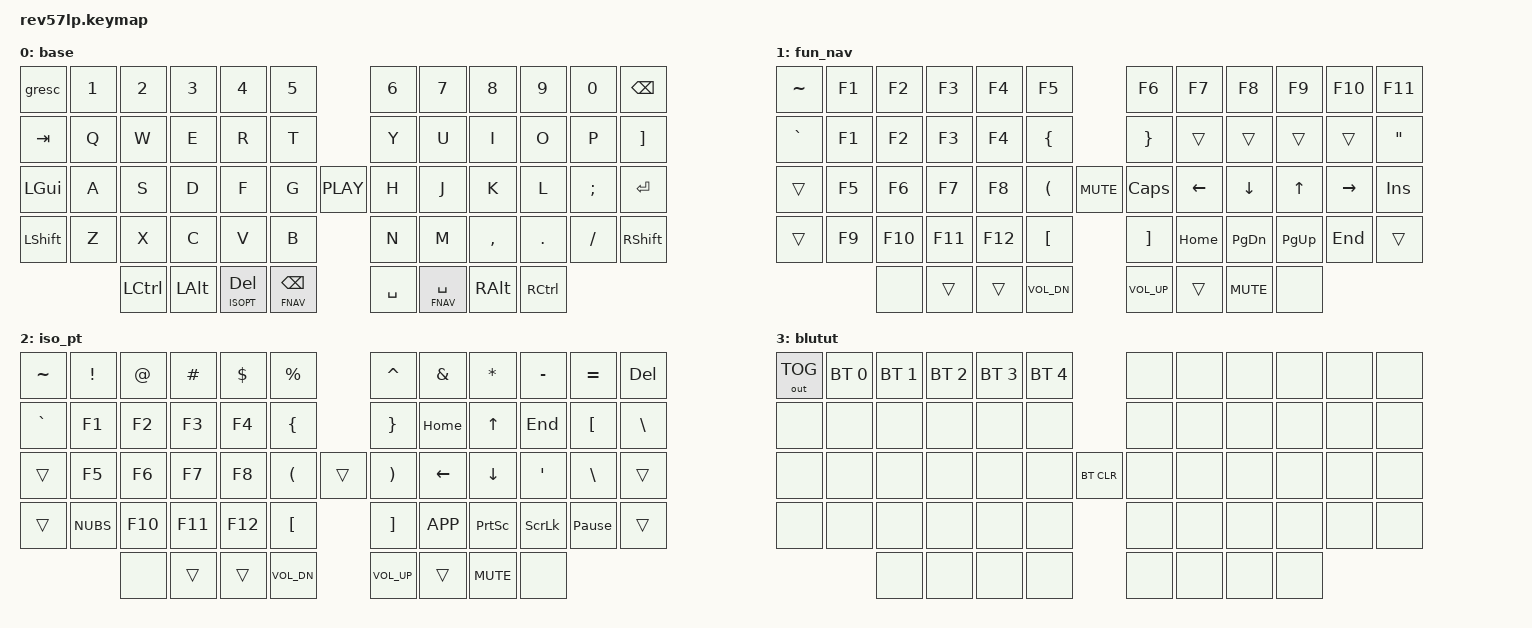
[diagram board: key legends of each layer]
/*
 * Copyright (c) 2022 The ZMK Contributors
 *
 * SPDX-License-Identifier: MIT
 */

#include <behaviors.dtsi>
#include <dt-bindings/zmk/keys.h>
#include <dt-bindings/zmk/bt.h>
#include <dt-bindings/zmk/outputs.h>

#define BASE    0
#define FNAV    1
#define ISOPT   2
#define BT      3

/ {
    combos {
        compatible = "zmk,combos";
        
        combo_BOOT {
            timeout-ms = <50>;
            key-positions = <4 5 6 7>;
            bindings = <&bootloader>;
        };

        combo_BT {
            timeout-ms = <50>;
            key-positions = <49 56>;
            bindings = <&mo BT>;
        };
    };

    keymap {
        compatible = "zmk,keymap";

        base {
            bindings = <
                &gresc       &kp N1     &kp N2    &kp N3    &kp N4     &kp N5                           &kp N6     &kp N7     &kp N8     &kp N9    &kp N0     &kp BSPC
                &kp TAB      &kp Q      &kp W     &kp E     &kp R      &kp T                            &kp Y      &kp U      &kp I      &kp O     &kp P      &kp RBKT
                &kp LGUI     &kp A      &kp S     &kp D     &kp F      &kp G          &kp C_PLAY        &kp H      &kp J      &kp K      &kp L     &kp SEMI   &kp RET
                &kp LSHIFT   &kp Z      &kp X     &kp C     &kp V      &kp B                            &kp N      &kp M      &kp COMMA  &kp DOT   &kp SLASH  &kp RSHIFT
                                           &kp LCTL  &kp LALT   &lt ISOPT DEL  &lt FNAV BSPC  &kp SPACE   &lt FNAV SPACE  &kp RALT   &kp RCTL
                >;
        };

        fun_nav {
            bindings = <
                &kp TILDE  &kp F1    &kp F2   &kp F3    &kp F4    &kp F5                                &kp F6     &kp F7    &kp F8     &kp F9      &kp F10         &kp F11
                &kp GRAVE  &kp F1    &kp F2   &kp F3    &kp F4    &kp LBRC                              &kp RBRC   &trans    &trans     &trans      &trans          &kp DQT
                &trans     &kp F5    &kp F6   &kp F7    &kp F8    &kp LPAR          &kp C_MUTE          &kp CAPS   &kp LEFT  &kp DOWN   &kp UP      &kp RIGHT       &kp INS
                &trans     &kp F9    &kp F10  &kp F11   &kp F12   &kp LBKT                              &kp RBKT   &kp HOME  &kp PG_DN  &kp PG_UP   &kp END &trans
                                              &none     &trans    &trans    &kp C_VOL_DN  &kp C_VOL_UP  &trans     &kp C_MUTE &none
                >;
        };

        iso_pt {
            bindings = <
                &kp TILDE  &kp EXCL  &kp AT   &kp HASH  &kp DLLR  &kp PRCNT                             &kp CARET  &kp AMPS   &kp ASTRK  &kp MINUS  &kp EQUAL       &kp DEL
                &kp GRAVE  &kp F1    &kp F2   &kp F3    &kp F4    &kp LBRC                              &kp RBRC   &kp HOME   &kp UP     &kp END    &kp LBKT        &kp BSLH
                &trans     &kp F5    &kp F6   &kp F7    &kp F8    &kp LPAR          &trans              &kp RPAR   &kp LEFT   &kp DOWN   &kp SQT    &kp BSLH        &trans
                &trans     &kp NUBS  &kp F10  &kp F11   &kp F12   &kp LBKT                              &kp RBKT   &kp K_APP  &kp PSCRN  &kp SLCK   &kp PAUSE_BREAK &trans
                                              &none     &trans    &trans    &kp C_VOL_DN  &kp C_VOL_UP  &trans     &kp C_MUTE &none
                >;
        };

        blutut {
            bindings = <
                &out OUT_TOG  &bt BT_SEL 0  &bt BT_SEL 1  &bt BT_SEL 2  &bt BT_SEL 3  &bt BT_SEL 4           &none  &none  &none  &none  &none  &none
                &none         &none         &none         &none         &none         &none                  &none  &none  &none  &none  &none  &none
                &none         &none         &none         &none         &none         &none     &bt BT_CLR   &none  &none  &none  &none  &none  &none
                &none         &none         &none         &none         &none         &none                  &none  &none  &none  &none  &none  &none
                                                                        &none  &none  &none   &none  &none   &none  &none  &none
                >;
        };
    };
};
